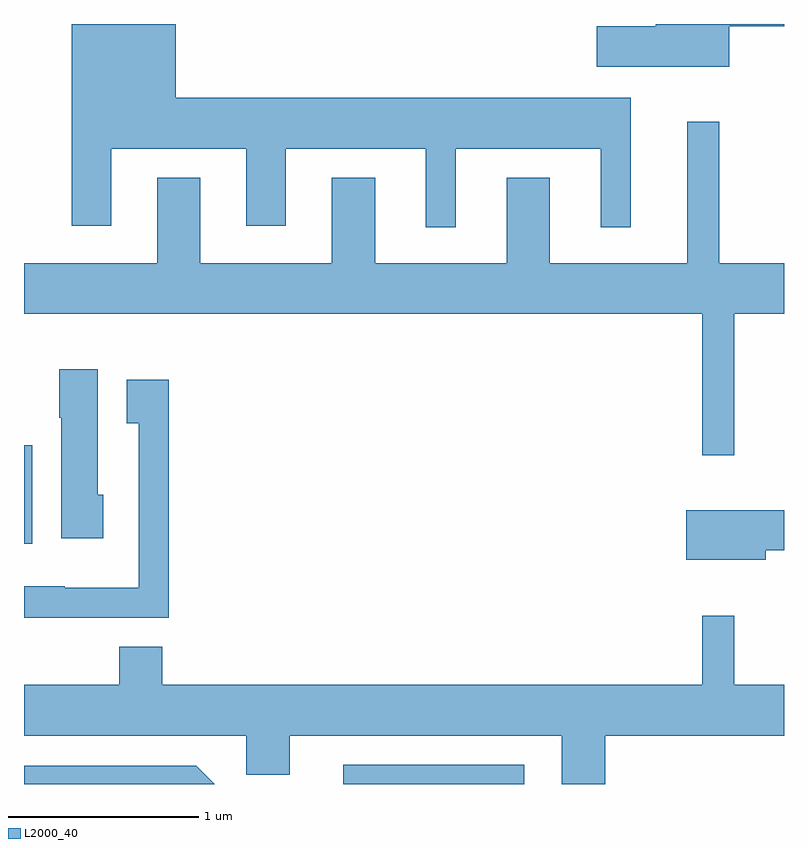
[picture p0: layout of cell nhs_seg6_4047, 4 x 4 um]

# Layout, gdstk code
import gdstk
lib = gdstk.Library(unit=1e-6, precision=1e-09)
def R(c, l, rs):  # rectangles x0, y0, x1, y1
    for r in rs: c.add(gdstk.rectangle(r[:2], r[2:], *l))
def P(c, l, *ps):  # polygons
    for p in ps: c.add(gdstk.Polygon(p, *l))
L2000_40 = (2000, 40)

nhs_seg6_4047 = lib.new_cell('nhs_seg6_4047')
R(nhs_seg6_4047, L2000_40, [(309.291,1614.162,310.244,1614.264), (307.611,1615.426,307.654,1615.944)])
P(nhs_seg6_4047, L2000_40, [(309.884,1617.506),(310.646,1617.506),(310.646,1617.093),(310.804,1617.093),(310.804,1617.774),(308.409,1617.774),(308.409,1618.162),(307.861,1618.162),(307.861,1617.101),(308.069,1617.101),(308.069,1617.506),(308.781,1617.506),(308.781,1617.101),(308.989,1617.101),(308.989,1617.506),(309.726,1617.506),(309.726,1617.093),(309.884,1617.093)],
  [(311.324,1618.151),(311.611,1618.151),(311.611,1618.162),(310.936,1618.162),(310.936,1618.149),(310.626,1618.149),(310.626,1617.936),(311.324,1617.936)],
  [(311.349,1616.636),(311.611,1616.636),(311.611,1616.904),(311.269,1616.904),(311.269,1617.648),(311.101,1617.648),(311.101,1616.904),(310.379,1616.904),(310.379,1617.354),(310.151,1617.354),(310.151,1616.904),(309.459,1616.904),(309.459,1617.354),(309.231,1617.354),(309.231,1616.904),(308.539,1616.904),(308.539,1617.354),(308.311,1617.354),(308.311,1616.904),(307.611,1616.904),(307.611,1616.636),(311.181,1616.636),(311.181,1615.893),(311.349,1615.893)],
  [(308.029,1615.684),(307.999,1615.684),(307.999,1616.344),(307.796,1616.344),(307.796,1616.09),(307.806,1616.09),(307.806,1615.456),(308.029,1615.456)],
  [(308.374,1616.289),(308.151,1616.289),(308.151,1616.061),(308.216,1616.061),(308.216,1615.194),(307.825,1615.194),(307.825,1615.204),(307.611,1615.204),(307.611,1615.036),(308.374,1615.036)],
  [(311.514,1615.391),(311.611,1615.391),(311.611,1615.604),(311.096,1615.604),(311.096,1615.341),(311.514,1615.341)],
  [(308.339,1614.884),(308.111,1614.884),(308.111,1614.684),(307.611,1614.684),(307.611,1614.416),(308.781,1614.416),(308.781,1614.211),(309.009,1614.211),(309.009,1614.416),(310.441,1614.416),(310.441,1614.162),(310.669,1614.162),(310.669,1614.416),(311.611,1614.416),(311.611,1614.684),(311.349,1614.684),(311.349,1615.048),(311.181,1615.048),(311.181,1614.684),(308.339,1614.684)],
  [(308.517,1614.259),(307.611,1614.259),(307.611,1614.162),(308.614,1614.162)])

lib.write_gds('nhs_seg6_4047.gds')
